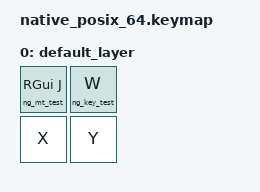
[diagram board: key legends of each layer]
#include <dt-bindings/zmk/keys.h>
#include <dt-bindings/zmk/kscan_mock.h>
#include <behaviors.dtsi>
#include <behaviors/naginata.dtsi>

/ {
    behaviors {
        ng_key_test: ng_key_test {
            compatible = "zmk,behavior-naginata-key";
            #binding-cells = <1>;
            binding = <&ng>;
            shortcut-binding = <&kp>;
        };

        ng_mt_test: ng_mt_test {
            compatible = "zmk,behavior-naginata-hold-tap";
            #binding-cells = <2>;
            bindings = <&kp>, <&ng>;
            tapping-term-ms = <100>;
            shortcut-binding = <&kp>;
            hold-trigger-key-positions = <1>;
        };
    };

    keymap {
        compatible = "zmk,keymap";

        default_layer {
            bindings = <
                &ng_mt_test RGUI J  &ng_key_test W
                &kp X                &kp Y
            >;
        };
    };
};

&kscan {
    events = <
        ZMK_MOCK_PRESS(0, 0, 10)
        ZMK_MOCK_PRESS(0, 1, 20)
        ZMK_MOCK_RELEASE(0, 1, 10)
        ZMK_MOCK_RELEASE(0, 0, 10)
    >;
};
